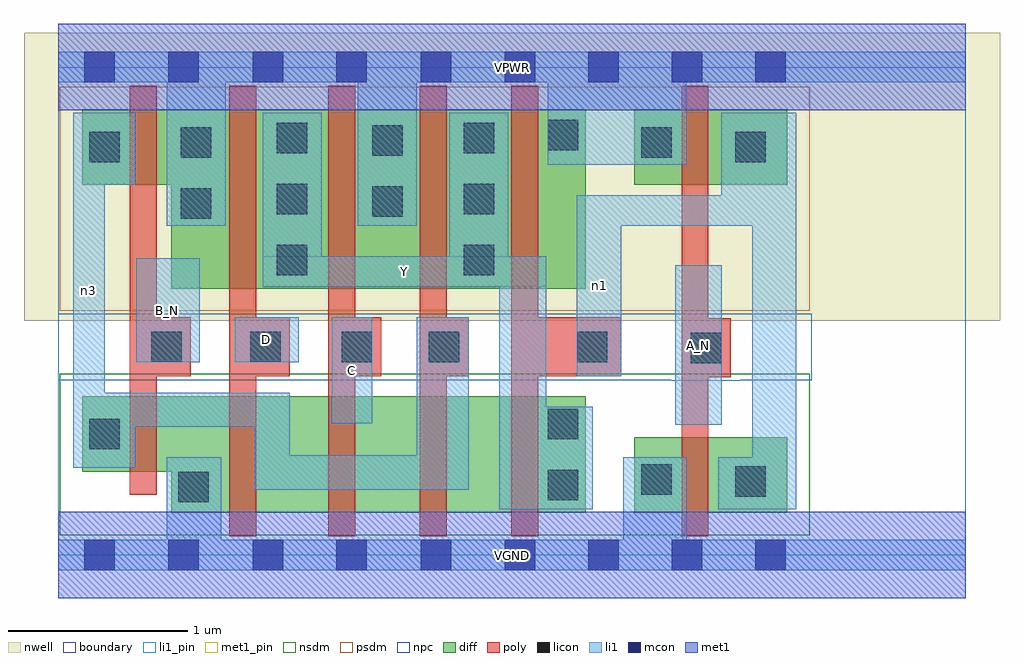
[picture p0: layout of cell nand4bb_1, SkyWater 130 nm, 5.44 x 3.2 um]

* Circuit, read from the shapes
.subckt nand4bb_1 A_N B_N C D VGND VPWR Y n1 n3
XM1 VGND B_N n3 VSUBS sky130_fd_pr__nfet_01v8 w=0.42 l=0.15
XM2 n2 D VGND VSUBS sky130_fd_pr__nfet_01v8 w=0.65 l=0.15
XM3 n4 C n2 VSUBS sky130_fd_pr__nfet_01v8 w=0.65 l=0.15
XM4 n5 n3 n4 VSUBS sky130_fd_pr__nfet_01v8 w=0.65 l=0.15
XM5 Y n1 n5 VSUBS sky130_fd_pr__nfet_01v8 w=0.65 l=0.15
XM6 n1 A_N VGND VSUBS sky130_fd_pr__nfet_01v8 w=0.42 l=0.15
XM7 VPWR B_N n3 n6 sky130_fd_pr__pfet_01v8 w=0.42 l=0.15
XM8 Y D VPWR n6 sky130_fd_pr__pfet_01v8 w=1 l=0.15
XM9 VPWR C Y n6 sky130_fd_pr__pfet_01v8 w=1 l=0.15
XM10 Y n3 VPWR n6 sky130_fd_pr__pfet_01v8 w=1 l=0.15
XM11 VPWR n1 Y n6 sky130_fd_pr__pfet_01v8 w=1 l=0.15
XM12 n1 A_N VPWR n6 sky130_fd_pr__pfet_01v8 w=0.42 l=0.15
.ends

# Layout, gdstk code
import gdstk
lib = gdstk.Library(unit=1e-6, precision=1e-09)
def R(c, l, rs):  # rectangles x0, y0, x1, y1
    for r in rs: c.add(gdstk.rectangle(r[:2], r[2:], *l))
def A(c, l, x, y, w, h, nx, ny, dx, dy):  # array of equal rectangles
    R(c, l, [(x+i*dx, y+j*dy, x+i*dx+w, y+j*dy+h) for i in range(nx) for j in range(ny)])
nwell = (64, 20)
diff = (65, 20)
poly = (66, 20)
licon = (66, 44)
li1_pin = (67, 16)
li1 = (67, 20)
mcon = (67, 44)
met1_pin = (68, 16)
met1 = (68, 20)
nsdm = (93, 44)
psdm = (94, 20)
npc = (95, 20)
boundary = (235, 4)

nand4bb_1 = lib.new_cell('nand4bb_1')
R(nand4bb_1, nwell, [(-0.19,1.305,5.25,2.91), (0,1.305,5.06,2.91)])
R(nand4bb_1, diff, [(0.63,0.235,2.94,0.885), (3.21,0.235,4.065,0.655), (0.135,0.465,2.94,0.885), (0.63,1.485,2.94,2.485), (0.135,2.065,2.94,2.485), (3.21,2.065,4.065,2.485)])
A(nand4bb_1, poly, 1.505, 0.105, 0.15, 2.51, 3, 1, 0.51, 0)
R(nand4bb_1, poly, [(0.955,0.105,1.105,2.615), (3.475,0.105,3.625,2.615), (0.4,0.335,0.55,2.615), (3.475,0.99,3.75,1.32), (0.4,0.995,0.74,1.325), (0.955,0.995,1.29,1.325), (1.505,0.995,1.8,1.325), (2.015,0.995,2.29,1.325), (2.525,0.995,3.14,1.325)])
A(nand4bb_1, licon, 1.22, 1.56, 0.17, 0.17, 1, 3, 0, 0.34)
A(nand4bb_1, licon, 2.26, 1.56, 0.17, 0.17, 1, 3, 0, 0.34)
R(nand4bb_1, licon, [(0.67,0.295,0.84,0.465), (2.73,0.305,2.9,0.475), (3.775,0.325,3.945,0.495), (3.25,0.335,3.42,0.505), (0.175,0.59,0.345,0.76), (2.73,0.645,2.9,0.815), (3.525,1.07,3.695,1.24), (0.52,1.075,0.69,1.245), (1.07,1.075,1.24,1.245), (1.58,1.075,1.75,1.245), (2.065,1.075,2.235,1.245), (2.89,1.075,3.06,1.245), (0.685,1.875,0.855,2.045), (1.75,1.885,1.92,2.055), (0.175,2.19,0.345,2.36), (3.775,2.19,3.945,2.36), (0.685,2.215,0.855,2.385), (3.25,2.215,3.42,2.385), (1.75,2.225,1.92,2.395), (2.73,2.255,2.9,2.425)])
R(nand4bb_1, li1_pin, [(3.44,0.725,3.7,1.615), (1.525,0.735,1.75,1.325), (0.435,1.075,0.79,1.655), (0.985,1.075,1.34,1.325), (1.14,1.495,2.72,1.665)])
R(nand4bb_1, li1, [(0,-0.085,5.06,0.085), (0.605,-0.085,0.91,0.545), (3.15,-0.085,3.505,0.545), (2.46,0.255,2.72,1.665), (2.46,0.255,2.98,0.825), (3.68,0.255,4.115,0.545), (3.87,0.255,4.115,2.465), (1.095,0.365,2.29,0.555), (1.095,0.365,1.29,0.905), (2,0.365,2.29,1.325), (0.085,0.485,0.26,2.465), (0.085,0.485,0.43,0.905), (0.085,0.715,1.29,0.905), (3.44,0.725,3.7,1.615), (1.525,0.735,1.75,1.325), (2.89,0.995,3.14,2.005), (0.435,1.075,0.79,1.655), (0.985,1.075,1.34,1.325), (1.14,1.495,1.47,2.465), (1.14,1.495,2.72,1.665), (2.18,1.495,2.51,2.465), (0.605,1.835,0.935,2.805), (1.67,1.835,2,2.805), (2.89,1.835,4.115,2.005), (3.695,1.835,4.115,2.465), (0.085,2.065,0.43,2.465), (2.73,2.175,3.505,2.805), (0,2.635,5.06,2.805)])
A(nand4bb_1, mcon, 0.145, -0.085, 0.17, 0.17, 3, 2, 0.47, 2.72)
A(nand4bb_1, mcon, 1.55, -0.085, 0.17, 0.17, 3, 2, 0.47, 2.72)
A(nand4bb_1, mcon, 2.955, -0.085, 0.17, 0.17, 3, 2, 0.465, 2.72)
R(nand4bb_1, met1_pin, [(0,-0.24,5.06,0.24), (0,2.48,5.06,2.96)])
R(nand4bb_1, met1, [(0,-0.24,5.06,0.24), (0,2.48,5.06,2.96)])
R(nand4bb_1, nsdm, [(0.01,0.11,4.19,1.01)])
R(nand4bb_1, psdm, [(0.01,1.36,4.19,2.61)])
R(nand4bb_1, npc, [(3.42,0.97,3.8,1.345), (0,0.975,4.2,1.345)])
R(nand4bb_1, boundary, [(0,0,5.06,2.72)])
nand4bb_1.add(gdstk.Label('A_N', (3.57,1.17), layer=67, texttype=5))
nand4bb_1.add(gdstk.Label('B_N', (0.612,1.365), layer=67, texttype=5))
nand4bb_1.add(gdstk.Label('C', (1.637,1.03), layer=67, texttype=5))
nand4bb_1.add(gdstk.Label('D', (1.162,1.2), layer=67, texttype=5))
nand4bb_1.add(gdstk.Label('Y', (1.93,1.58), layer=67, texttype=5))
nand4bb_1.add(gdstk.Label('n3', (0.172,1.475), layer=67, texttype=5))
nand4bb_1.add(gdstk.Label('n1', (3.015,1.5), layer=67, texttype=5))
nand4bb_1.add(gdstk.Label('VPWR', (2.53,2.72), layer=68, texttype=5))
nand4bb_1.add(gdstk.Label('VGND', (2.53,0), layer=68, texttype=5))
nand4bb_1.add(gdstk.Label('A_N', (3.57,1.17), layer=67, texttype=16))
nand4bb_1.add(gdstk.Label('B_N', (0.612,1.365), layer=67, texttype=16))
nand4bb_1.add(gdstk.Label('C', (1.637,1.03), layer=67, texttype=16))
nand4bb_1.add(gdstk.Label('D', (1.162,1.2), layer=67, texttype=16))
nand4bb_1.add(gdstk.Label('Y', (1.93,1.58), layer=67, texttype=16))
nand4bb_1.add(gdstk.Label('VPWR', (2.53,2.72), layer=68, texttype=16))
nand4bb_1.add(gdstk.Label('VGND', (2.53,0), layer=68, texttype=16))

lib.write_gds('nand4bb_1.gds')
